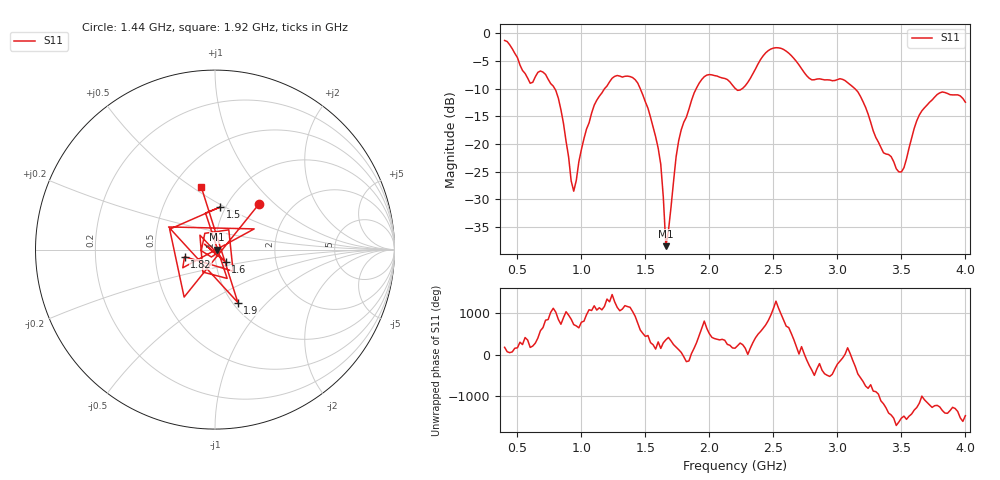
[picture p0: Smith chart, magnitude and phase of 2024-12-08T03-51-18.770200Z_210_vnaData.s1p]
!Created with skrf (http://scikit-rf.org).
# Hz S RI R 50.0
!freq ReS11 ImS11
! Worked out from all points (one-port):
!   181 points, 400 MHz to 4 GHz, reference 50 ohm
!   lowest |S11| = -38.5 dB at 1.66 GHz (marker M1), VSWR 1.02, Z = 51.2 + j0.0378 ohm
!   |S11| at or under -10 dB: 791.7 MHz to 1.181 GHz (389.6 MHz wide, 39.5 % of centre); 1.46 GHz to 1.897 GHz (437.6 MHz wide, 26.1 % of centre); 3.136 GHz to end of sweep (the widest 3 of 4)
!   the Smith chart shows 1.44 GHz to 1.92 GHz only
!   S11 on the Smith chart (normalised r, x): 1.44 GHz: 1.38, +0.81; 1.5 GHz: 0.95, +0.48; 1.6 GHz: 1.11, -0.16; 1.82 GHz: 0.71, -0.06; 1.9 GHz: 1.06, -0.69; 1.92 GHz: 0.68, +0.54
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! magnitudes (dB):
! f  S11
! 400 MHz  -1.3
! 600 MHz  -9.0
! 720 MHz  -7.4
! 800 MHz  -10.3
! 860 MHz  -16.3
! 940 MHz  -28.5
! 1.1 GHz  -13.0
! 1.3 GHz  -7.7
! 1.44 GHz  -9.0
! 1.5 GHz  -12.4
! 1.6 GHz  -20.8
! 1.62 GHz  -23.7
! 1.66 GHz  -38.5
! 1.76 GHz  -19.4
! 1.82 GHz  -15.2
! 1.9 GHz  -9.9
! 1.92 GHz  -9.0
! 2.02 GHz  -7.5
! 2.2 GHz  -9.9
! 2.48 GHz  -2.8
! 2.66 GHz  -4.5
! 2.8 GHz  -8.4
! 3.1 GHz  -9.3
! 3.48 GHz  -25.1
! 3.56 GHz  -20.7
! 3.64 GHz  -14.8
! 3.78 GHz  -11.1
! 4 GHz  -12.5
